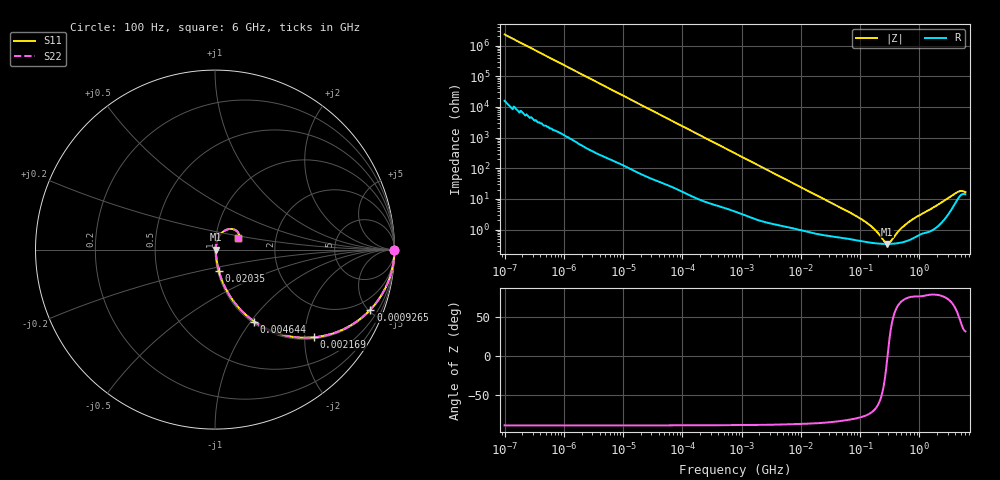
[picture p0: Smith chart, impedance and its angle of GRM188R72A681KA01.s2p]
!Murata Part Number: GRM188R72A681KA01
!These Parameters are Measured in Series Mode Connection
!Data Generated on Mar 30, 2021
!  o--ll--o
!Port1  Port2
!  o------o
!Operation Temp=25[degC], DC Bias Voltage=0[V]
!Freq. Start=100[Hz] Stop=6[GHz] 401[Steps]
# Hz S RI R 50
!Freq.(Hz) S11(Real) S11(Imag) S21(Real) S21(Imag) S12(Real) S12(Imag) S22(Real) S22(Imag)
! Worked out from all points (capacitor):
!   401 points, 100 Hz to 6 GHz, reference 50 ohm
!   read as one part in series: C = 689 pF near 109 Hz
!   lowest |Z| = 345 mohm at 285.7 MHz (marker M1)
!   series resonance near 291.2 MHz, so ESL is about 430 pH
!   S11 on the Smith chart (normalised r, x): 100 Hz: open; 926.5 kHz: 1.07, -5.15; 2.169 MHz: 1.04, -2.21; 4.644 MHz: 1.03, -1.04; 20.35 MHz: 1.01, -0.24; 6 GHz: 1.29, +0.18
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100  1 -4.34e-05  3e-07 4.34e-05  3e-07 4.34e-05  1 -4.34e-05
245  1 -0.000106  6e-07 0.000106  6e-07 0.000106  1 -0.000106
2008  1 -0.000863  4.9e-06 0.000863  4.9e-06 0.000863  1 -0.000863
40335  0.9996 -0.0172  0.000403 0.0172  0.000403 0.0172  0.9996 -0.0172
231233  0.9898 -0.0966  0.0102 0.0966  0.0102 0.0966  0.9898 -0.0966
774597  0.9015 -0.2918  0.0985 0.2918  0.0985 0.2918  0.9015 -0.2918
926525  0.8657 -0.3344  0.1343 0.3344  0.1343 0.3344  0.8657 -0.3344
2169299  0.5496 -0.489  0.4504 0.489  0.4504 0.489  0.5496 -0.489
4643984  0.2189 -0.4008  0.7811 0.4008  0.7811 0.4008  0.2189 -0.4008
7947587  0.0936 -0.2744  0.9064 0.2744  0.9064 0.2744  0.0936 -0.2744
1.555665e7  0.0315 -0.1516  0.9685 0.1516  0.9685 0.1516  0.0315 -0.1516
2.035112e7  0.0211 -0.1175  0.9789 0.1175  0.9789 0.1175  0.0211 -0.1175
1.220122e8  0.00431 -0.0176  0.9957 0.0176  0.9957 0.0176  0.00431 -0.0176
1.745687e8  0.00371 -0.00969  0.9963 0.00969  0.9963 0.00969  0.00371 -0.00969
2.856706e8  0.00342 -0.000349  0.9966 0.000349  0.9966 0.000349  0.00342 -0.000349
3.124326e8  0.00343 0.0013  0.9966 -0.0013  0.9966 -0.0013  0.00343 0.0013
4.888888e8  0.00386 0.01  0.9961 -0.01  0.9961 -0.01  0.00386 0.01
8.000355e8  0.00577 0.0219  0.9942 -0.0219  0.9942 -0.0219  0.00577 0.0219
2.34314e9  0.0213 0.0714  0.9787 -0.0714  0.9787 -0.0714  0.0213 0.0714
4.009986e9  0.0803 0.1149  0.9197 -0.1149  0.9197 -0.1149  0.0803 0.1149
4.796499e9  0.1203 0.1044  0.8797 -0.1044  0.8797 -0.1044  0.1203 0.1044
6e9  0.13 0.0668  0.87 -0.0668  0.87 -0.0668  0.13 0.0668
